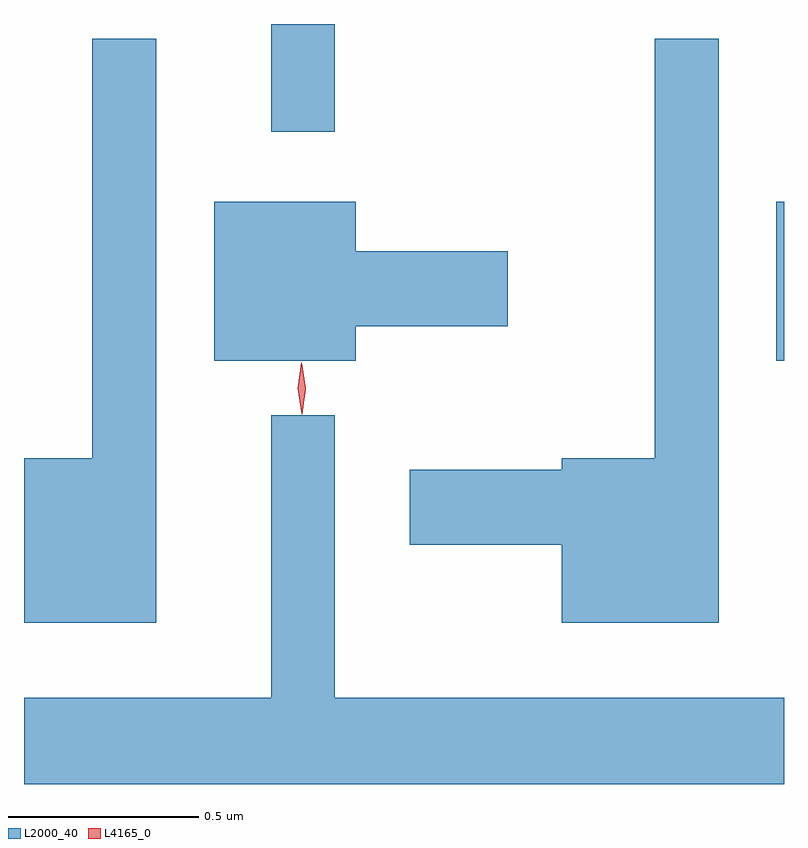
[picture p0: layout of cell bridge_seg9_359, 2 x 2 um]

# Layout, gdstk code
import gdstk
lib = gdstk.Library(unit=1e-6, precision=1e-09)
def R(c, l, rs):  # rectangles x0, y0, x1, y1
    for r in rs: c.add(gdstk.rectangle(r[:2], r[2:], *l))
def P(c, l, *ps):  # polygons
    for p in ps: c.add(gdstk.Polygon(p, *l))
L2000_40 = (2000, 40)
L4165_0 = (4165, 0)

bridge_seg9_359 = lib.new_cell('bridge_seg9_359')
R(bridge_seg9_359, L2000_40, [(729.051,1999.631,729.071,2000.049), (727.721,2000.233,727.889,2000.517)])
P(bridge_seg9_359, L2000_40, [(727.419,2000.478),(727.251,2000.478),(727.251,1999.374),(727.071,1999.374),(727.071,1998.941),(727.419,1998.941)],
  [(728.899,2000.478),(728.731,2000.478),(728.731,1999.374),(728.486,1999.374),(728.486,1999.344),(728.086,1999.344),(728.086,1999.146),(728.486,1999.146),(728.486,1998.941),(728.899,1998.941)],
  [(727.944,1999.721),(728.344,1999.721),(728.344,1999.919),(727.944,1999.919),(727.944,2000.049),(727.571,2000.049),(727.571,1999.631),(727.944,1999.631)],
  [(729.071,1998.744),(727.889,1998.744),(727.889,1999.488),(727.721,1999.488),(727.721,1998.744),(727.071,1998.744),(727.071,1998.517),(729.071,1998.517)])
P(bridge_seg9_359, L4165_0, [(727.802,1999.49),(727.792,1999.558),(727.8,1999.625),(727.801,1999.625),(727.802,1999.625),(727.812,1999.558),(727.803,1999.49),(727.803,1999.49)],
  [(727.802,1999.493),(727.793,1999.556),(727.802,1999.619),(727.803,1999.619),(727.803,1999.619),(727.813,1999.556),(727.803,1999.493),(727.803,1999.493)])

lib.write_gds('bridge_seg9_359.gds')
